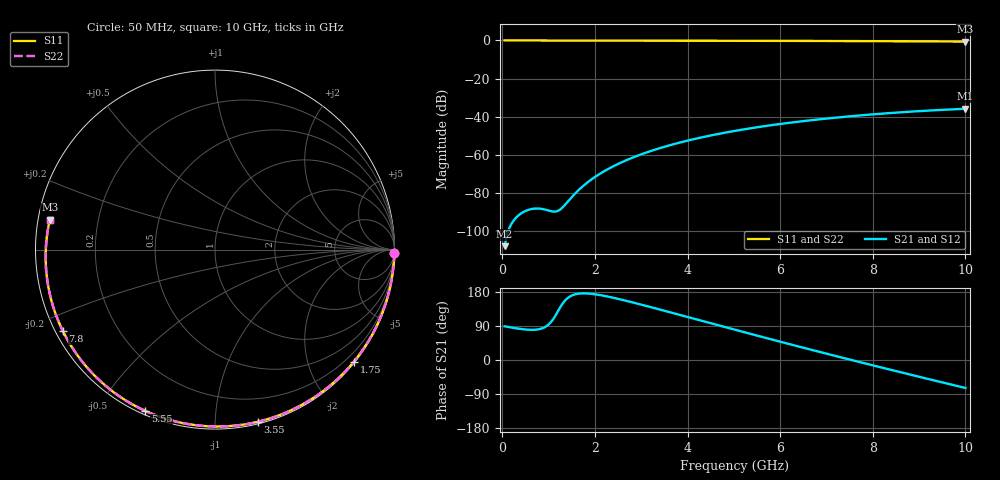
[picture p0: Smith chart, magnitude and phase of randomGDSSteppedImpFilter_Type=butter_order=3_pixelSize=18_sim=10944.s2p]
! freq	dB(S11)	phase(S11)	dB(S12)	phase(S12)
!  dB(S21)	phase(S21)	dB(S22)	phase(S22)
!S-par simulation data
#  GHz  S  DB  R 50
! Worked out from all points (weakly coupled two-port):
!   200 points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, 50 MHz to 10 GHz, reference 50 ohm
!   highest |S21| = -35.88 dB at 10 GHz (marker M1); lowest = -108.0 dB at 50 MHz (marker M2)
!   lowest |S11| = -0.6 dB at 10 GHz (marker M3), VSWR 29.92, Z = 1.68 + j4.48 ohm
!   |S11| at or under -10 dB: nowhere
!   |S22| runs from -0.6 to 0.0 dB; largest |S21 - S12| = 0
!   S11 on the Smith chart (normalised r, x): 50 MHz: open; 1.75 GHz: 0.03, -2.83; 3.55 GHz: 0.02, -1.28; 5.55 GHz: 0.02, -0.66; 7.8 GHz: 0.02, -0.25; 10 GHz: 0.03, +0.09
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0.05  -0.00 -1.1  -108.03 88.9  -108.03 88.9  -0.00 -1.1
0.45  -0.02 -10.2  -90.16 81.1  -90.16 81.1  -0.02 -10.2
0.8  -0.02 -18.0  -88.30 81.5  -88.30 81.5  -0.02 -18.0
1.55  -0.04 -34.6  -80.97 172.5  -80.97 172.5  -0.04 -34.6
1.6  -0.05 -35.7  -79.72 174.1  -79.72 174.1  -0.05 -35.7
1.75  -0.05 -38.9  -76.34 175.9  -76.34 175.9  -0.05 -38.9
2.05  -0.06 -45.4  -70.91 172.6  -70.91 172.6  -0.06 -45.4
2.25  -0.06 -49.6  -67.98 168.1  -67.98 168.1  -0.06 -49.6
2.45  -0.07 -53.8  -65.44 162.8  -65.44 162.8  -0.07 -53.8
2.9  -0.08 -63.1  -60.71 149.3  -60.71 149.3  -0.08 -63.1
3.4  -0.10 -73.1  -56.57 133.2  -56.57 133.2  -0.10 -73.1
3.55  -0.10 -76.1  -55.49 128.3  -55.49 128.3  -0.10 -76.1
4.3  -0.13 -90.5  -50.93 103.6  -50.93 103.6  -0.13 -90.5
5.05  -0.16 -104.4  -47.38 79.0  -47.38 79.0  -0.16 -104.4
5.55  -0.18 -113.3  -45.41 62.8  -45.41 62.8  -0.18 -113.3
6.1  -0.21 -123.0  -43.55 45.1  -43.55 45.1  -0.21 -123.0
6.7  -0.25 -133.3  -41.80 26.1  -41.80 26.1  -0.25 -133.3
7.25  -0.30 -142.6  -40.42 8.9  -40.42 8.9  -0.30 -142.6
7.8  -0.34 -151.9  -39.21 -8.0  -39.21 -8.0  -0.34 -151.9
8.35  -0.39 -161.3  -38.17 -24.7  -38.17 -24.7  -0.39 -161.3
9.2  -0.49 -176.0  -36.83 -50.2  -36.83 -50.2  -0.49 -176.0
10  -0.58 169.7  -35.88 -73.8  -35.88 -73.8  -0.58 169.8
